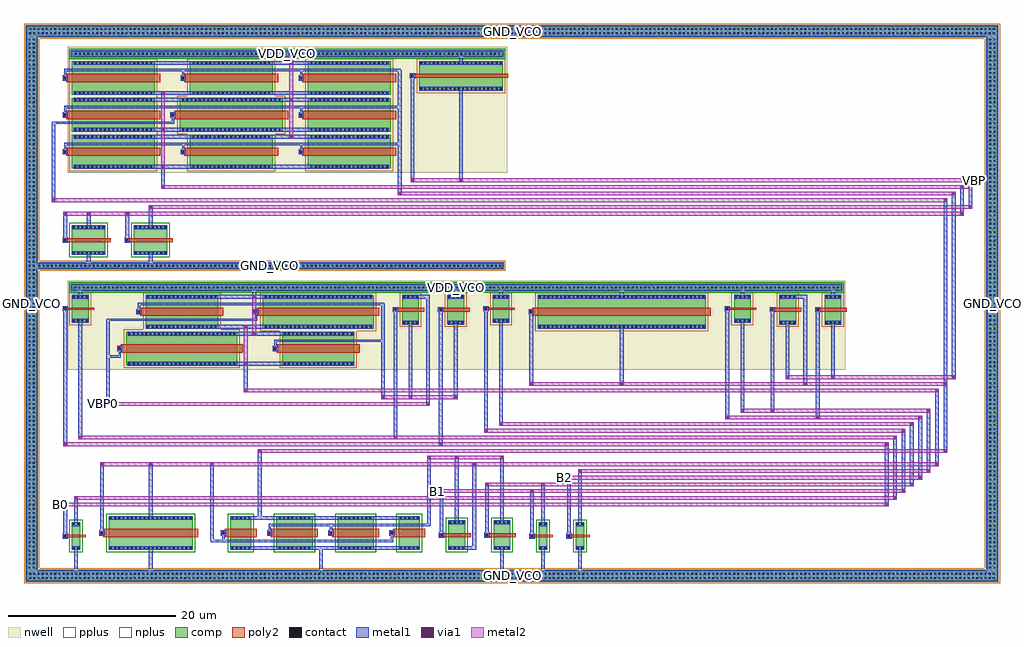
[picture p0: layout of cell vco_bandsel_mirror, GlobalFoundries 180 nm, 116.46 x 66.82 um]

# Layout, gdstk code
import gdstk
lib = gdstk.Library(unit=1e-6, precision=1e-09)
def R(c, l, rs):  # rectangles x0, y0, x1, y1
    for r in rs: c.add(gdstk.rectangle(r[:2], r[2:], *l))
def A(c, l, x, y, w, h, nx, ny, dx, dy):  # array of equal rectangles
    R(c, l, [(x+i*dx, y+j*dy, x+i*dx+w, y+j*dy+h) for i in range(nx) for j in range(ny)])
nwell = (21, 0)
comp = (22, 0)
poly2 = (30, 0)
pplus = (31, 0)
nplus = (32, 0)
contact = (33, 0)
metal1 = (34, 0)
via1 = (35, 0)
metal2 = (36, 0)

vco_bandsel_mirror = lib.new_cell('vco_bandsel_mirror')
R(vco_bandsel_mirror, nwell, [(-0.5,21.5,92.3,32.1), (-0.5,45,51.92,60)])
A(vco_bandsel_mirror, comp, 0, 45.5, 9.86, 4, 3, 2, 14.08, 8.8)
R(vco_bandsel_mirror, comp, [(-5.42,-3.72,110.44,-2.52), (-5.42,-2.52,-4.22,61.3), (109.24,-2.52,110.44,61.3), (0,0,1,3.28), (4.4,0,14.4,4), (18.9,0,21.4,4), (24.4,0,28.705,4), (31.705,0,36.01,4), (39.01,0,41.51,4), (44.91,0,46.91,3.5), (50.31,0,52.31,3.5), (55.71,0,56.71,3.28), (60.11,0,61.11,3.28), (6.5,22,19.75,26), (25.07,22,33.68,26), (8.82,26.4,17.43,30.4), (22.75,26.4,36,30.4), (55.6,26.4,75.6,30.4), (39.4,26.9,41.4,30.4), (44.8,26.9,46.8,30.4), (84.4,26.9,86.4,30.4), (89.8,26.9,91.8,30.4), (0,27.12,2,30.4), (50.2,27.12,52.2,30.4), (79,27.12,81,30.4), (0,31,91.8,31.6), (-4.22,33.6,51.42,34.2), (0,35.2,4,38.7), (7.4,35.2,11.4,38.7), (0,49.9,9.86,53.9), (12.86,49.9,25.16,53.9), (28.16,49.9,38.02,53.9), (41.42,54.8,51.42,58.3), (0,58.9,51.42,59.5), (-5.42,61.3,110.44,62.5)])
A(vco_bandsel_mirror, poly2, 23.4, 1.8, 0.4, 0.4, 3, 1, 7.305, 0)
A(vco_bandsel_mirror, poly2, -0.65, 47, 11.16, 1, 3, 2, 14.08, 8.8)
A(vco_bandsel_mirror, poly2, -1, 47.3, 0.4, 0.4, 3, 2, 14.08, 8.8)
R(vco_bandsel_mirror, poly2, [(-1,1.44,-0.6,1.84), (54.71,1.44,55.11,1.84), (59.11,1.44,59.51,1.84), (-0.65,1.5,1.65,1.78), (3.75,1.5,15.05,2.5), (18.25,1.5,22.05,2.5), (23.75,1.5,29.355,2.5), (31.055,1.5,36.66,2.5), (38.36,1.5,42.16,2.5), (44.26,1.5,47.56,2), (49.66,1.5,52.96,2), (55.06,1.5,57.36,1.78), (59.46,1.5,61.76,1.78), (43.91,1.55,44.31,1.95), (49.31,1.55,49.71,1.95), (3.4,1.8,3.8,2.2), (17.9,1.8,18.3,2.2), (5.85,23.5,20.4,24.5), (24.42,23.5,34.33,24.5), (5.5,23.8,5.9,24.2), (24.07,23.8,24.47,24.2), (8.17,27.9,18.08,28.9), (22.1,27.9,36.65,28.9), (54.95,27.9,76.25,28.9), (7.82,28.2,8.22,28.6), (21.75,28.2,22.15,28.6), (54.6,28.2,55,28.6), (38.75,28.4,42.05,28.9), (44.15,28.4,47.45,28.9), (83.75,28.4,87.05,28.9), (89.15,28.4,92.45,28.9), (38.4,28.45,38.8,28.85), (43.8,28.45,44.2,28.85), (83.4,28.45,83.8,28.85), (88.8,28.45,89.2,28.85), (-1,28.56,-0.6,28.96), (49.2,28.56,49.6,28.96), (78,28.56,78.4,28.96), (-0.65,28.62,2.65,28.9), (49.55,28.62,52.85,28.9), (78.35,28.62,81.65,28.9), (-0.65,36.7,4.65,37.2), (6.75,36.7,12.05,37.2), (-1,36.75,-0.6,37.15), (6.4,36.75,6.8,37.15), (-0.65,51.4,10.51,52.4), (12.21,51.4,25.81,52.4), (27.51,51.4,38.67,52.4), (-1,51.7,-0.6,52.1), (11.86,51.7,12.26,52.1), (27.16,51.7,27.56,52.1), (40.77,56.3,52.07,56.8), (40.42,56.35,40.82,56.75)])
A(vco_bandsel_mirror, pplus, -0.3, 45.2, 10.46, 4.6, 3, 2, 14.08, 8.8)
R(vco_bandsel_mirror, pplus, [(-5.72,-4.02,110.74,-2.22), (-5.72,-2.82,-3.92,61.6), (108.94,-2.82,110.74,61.6), (6.2,21.7,20.05,26.3), (24.77,21.7,33.98,26.3), (8.52,26.1,17.73,30.7), (22.45,26.1,36.3,30.7), (55.3,26.1,75.9,30.7), (39.1,26.6,41.7,30.7), (44.5,26.6,47.1,30.7), (84.1,26.6,86.7,30.7), (89.5,26.6,92.1,30.7), (-0.3,26.82,2.3,30.7), (49.9,26.82,52.5,30.7), (78.7,26.82,81.3,30.7), (-4.52,33.3,51.72,34.5), (-0.3,49.6,10.16,54.2), (12.56,49.6,25.46,54.2), (27.86,49.6,38.32,54.2), (41.12,54.5,51.72,58.6), (-5.72,61,110.74,62.8)])
R(vco_bandsel_mirror, nplus, [(-0.3,-0.3,1.3,3.58), (4.1,-0.3,14.7,4.3), (18.6,-0.3,21.7,4.3), (24.1,-0.3,29.005,4.3), (31.405,-0.3,36.31,4.3), (38.71,-0.3,41.81,4.3), (44.61,-0.3,47.21,3.8), (50.01,-0.3,52.61,3.8), (55.41,-0.3,57.01,3.58), (59.81,-0.3,61.41,3.58), (-0.3,30.7,92.1,31.9), (-0.3,34.9,4.3,39), (7.1,34.9,11.7,39), (-0.3,58.6,51.72,59.8)])
A(vco_bandsel_mirror, contact, -5.1, -3.48, 0.22, 0.22, 231, 2, 0.5, 0.5)
A(vco_bandsel_mirror, contact, -5.18, -2.22, 0.22, 0.22, 1, 127, 0, 0.5)
A(vco_bandsel_mirror, contact, -4.68, -2.22, 0.22, 0.22, 1, 127, 0, 0.5)
A(vco_bandsel_mirror, contact, 109.48, -2.22, 0.22, 0.22, 1, 127, 0, 0.5)
A(vco_bandsel_mirror, contact, 109.98, -2.22, 0.22, 0.22, 1, 127, 0, 0.5)
A(vco_bandsel_mirror, contact, 4.54, 0.1, 0.22, 0.22, 20, 2, 0.5, 3.58)
A(vco_bandsel_mirror, contact, 19.04, 0.1, 0.22, 0.22, 5, 2, 0.5, 3.58)
A(vco_bandsel_mirror, contact, 24.69, 0.1, 0.22, 0.22, 8, 2, 0.5, 3.58)
A(vco_bandsel_mirror, contact, 32, 0.1, 0.22, 0.22, 8, 2, 0.5, 3.58)
A(vco_bandsel_mirror, contact, 39.15, 0.1, 0.22, 0.22, 5, 2, 0.5, 3.58)
A(vco_bandsel_mirror, contact, 45.05, 0.1, 0.22, 0.22, 4, 2, 0.5, 3.08)
A(vco_bandsel_mirror, contact, 50.45, 0.1, 0.22, 0.22, 4, 2, 0.5, 3.08)
A(vco_bandsel_mirror, contact, 23.49, 1.89, 0.22, 0.22, 3, 1, 7.305, 0)
A(vco_bandsel_mirror, contact, 6.765, 22.1, 0.22, 0.22, 26, 2, 0.5, 3.58)
A(vco_bandsel_mirror, contact, 25.265, 22.1, 0.22, 0.22, 17, 2, 0.5, 3.58)
A(vco_bandsel_mirror, contact, 9.015, 26.5, 0.22, 0.22, 17, 2, 0.5, 3.58)
A(vco_bandsel_mirror, contact, 23.015, 26.5, 0.22, 0.22, 26, 2, 0.5, 3.58)
A(vco_bandsel_mirror, contact, 55.74, 26.5, 0.22, 0.22, 40, 2, 0.5, 3.58)
A(vco_bandsel_mirror, contact, 39.54, 27, 0.22, 0.22, 4, 2, 0.5, 3.08)
A(vco_bandsel_mirror, contact, 44.94, 27, 0.22, 0.22, 4, 2, 0.5, 3.08)
A(vco_bandsel_mirror, contact, 84.54, 27, 0.22, 0.22, 4, 2, 0.5, 3.08)
A(vco_bandsel_mirror, contact, 89.94, 27, 0.22, 0.22, 4, 2, 0.5, 3.08)
A(vco_bandsel_mirror, contact, 0.14, 27.22, 0.22, 0.22, 4, 2, 0.5, 2.86)
A(vco_bandsel_mirror, contact, 50.34, 27.22, 0.22, 0.22, 4, 2, 0.5, 2.86)
A(vco_bandsel_mirror, contact, 79.14, 27.22, 0.22, 0.22, 4, 2, 0.5, 2.86)
A(vco_bandsel_mirror, contact, 0.29, 31.19, 0.22, 0.22, 183, 1, 0.5, 0)
A(vco_bandsel_mirror, contact, -4.01, 33.79, 0.22, 0.22, 111, 1, 0.5, 0)
A(vco_bandsel_mirror, contact, 0.14, 35.3, 0.22, 0.22, 8, 2, 0.5, 3.08)
A(vco_bandsel_mirror, contact, 7.54, 35.3, 0.22, 0.22, 8, 2, 0.5, 3.08)
A(vco_bandsel_mirror, contact, 0.32, 45.6, 0.22, 0.22, 19, 2, 0.5, 3.58)
A(vco_bandsel_mirror, contact, 14.4, 45.6, 0.22, 0.22, 19, 2, 0.5, 3.58)
A(vco_bandsel_mirror, contact, 28.48, 45.6, 0.22, 0.22, 19, 2, 0.5, 3.58)
A(vco_bandsel_mirror, contact, -0.91, 47.39, 0.22, 0.22, 3, 2, 14.08, 8.8)
A(vco_bandsel_mirror, contact, 0.32, 50, 0.22, 0.22, 19, 2, 0.5, 3.58)
A(vco_bandsel_mirror, contact, 13.15, 50, 0.22, 0.22, 24, 2, 0.5, 3.58)
A(vco_bandsel_mirror, contact, 28.48, 50, 0.22, 0.22, 19, 2, 0.5, 3.58)
A(vco_bandsel_mirror, contact, 0.32, 54.4, 0.22, 0.22, 19, 2, 0.5, 3.58)
A(vco_bandsel_mirror, contact, 14.4, 54.4, 0.22, 0.22, 19, 2, 0.5, 3.58)
A(vco_bandsel_mirror, contact, 28.48, 54.4, 0.22, 0.22, 19, 2, 0.5, 3.58)
A(vco_bandsel_mirror, contact, 41.56, 54.9, 0.22, 0.22, 20, 2, 0.5, 3.08)
A(vco_bandsel_mirror, contact, 0.35, 59.09, 0.22, 0.22, 102, 1, 0.5, 0)
A(vco_bandsel_mirror, contact, -5.1, 61.54, 0.22, 0.22, 231, 2, 0.5, 0.5)
R(vco_bandsel_mirror, contact, [(0.14,0.1,0.36,0.32), (0.64,0.1,0.86,0.32), (55.85,0.1,56.07,0.32), (56.35,0.1,56.57,0.32), (60.25,0.1,60.47,0.32), (60.75,0.1,60.97,0.32), (-0.91,1.53,-0.69,1.75), (54.8,1.53,55.02,1.75), (59.2,1.53,59.42,1.75), (44,1.64,44.22,1.86), (49.4,1.64,49.62,1.86), (3.49,1.89,3.71,2.11), (17.99,1.89,18.21,2.11), (0.14,2.96,0.36,3.18), (0.64,2.96,0.86,3.18), (55.85,2.96,56.07,3.18), (56.35,2.96,56.57,3.18), (60.25,2.96,60.47,3.18), (60.75,2.96,60.97,3.18), (5.59,23.89,5.81,24.11), (24.16,23.89,24.38,24.11), (7.91,28.29,8.13,28.51), (21.84,28.29,22.06,28.51), (54.69,28.29,54.91,28.51), (38.49,28.54,38.71,28.76), (43.89,28.54,44.11,28.76), (83.49,28.54,83.71,28.76), (88.89,28.54,89.11,28.76), (-0.91,28.65,-0.69,28.87), (49.29,28.65,49.51,28.87), (78.09,28.65,78.31,28.87), (-0.91,36.84,-0.69,37.06), (6.49,36.84,6.71,37.06), (-0.91,51.79,-0.69,52.01), (11.95,51.79,12.17,52.01), (27.25,51.79,27.47,52.01), (40.51,56.44,40.73,56.66)])
A(vco_bandsel_mirror, metal1, 23.28, 1.68, 0.64, 0.64, 3, 1, 7.305, 0)
A(vco_bandsel_mirror, metal1, 39.42, 29.96, 1.96, 0.46, 3, 1, 5.4, 0)
A(vco_bandsel_mirror, metal1, 79.02, 29.96, 1.96, 0.46, 3, 1, 5.4, 0)
A(vco_bandsel_mirror, metal1, 50.98, 30.42, 0.44, 0.58, 3, 1, 14.4, 0)
A(vco_bandsel_mirror, metal1, 0.2, 45.48, 9.46, 0.46, 3, 2, 14.08, 3.58)
A(vco_bandsel_mirror, metal1, 10.64, 45.49, 0.44, 0.44, 1, 3, 0, 4.4)
A(vco_bandsel_mirror, metal1, -1.12, 47.18, 0.64, 0.64, 3, 2, 14.08, 8.8)
A(vco_bandsel_mirror, metal1, -0.94, 47.82, 0.28, 0.62, 3, 2, 14.08, 8.8)
A(vco_bandsel_mirror, metal1, -0.94, 48.3, 40.2, 0.28, 1, 3, 0, 4.4)
A(vco_bandsel_mirror, metal1, 25.94, 49.07, 0.44, 0.44, 1, 3, 0, 4.4)
A(vco_bandsel_mirror, metal1, 0.2, 54.28, 9.46, 0.46, 3, 2, 14.08, 3.58)
R(vco_bandsel_mirror, metal1, [(-5.54,-3.84,110.56,-2.4), (-5.54,-2.64,-4.1,61.42), (109.12,-2.64,110.56,61.42), (0.28,-2.4,0.72,-0.02), (9.18,-2.4,9.62,-0.02), (29.485,-2.4,29.925,-0.02), (51.09,-2.4,51.53,-0.02), (55.99,-2.4,56.43,-0.02), (60.39,-2.4,60.83,-0.02), (0.02,-0.02,0.98,0.44), (4.42,-0.02,14.38,0.44), (18.92,-0.02,41.49,0.44), (18.92,-0.02,21.38,0.44), (24.57,-0.02,28.53,0.44), (31.88,-0.02,35.84,0.44), (39.03,-0.02,41.49,0.44), (44.93,-0.02,46.89,0.44), (44.93,-0.02,48.23,0.44), (50.33,-0.02,52.29,0.44), (55.73,-0.02,56.69,0.44), (60.13,-0.02,61.09,0.44), (47.79,0.21,48.23,10.2), (16.56,0.92,38.35,1.2), (16.48,1.06,16.92,10.2), (17.96,1.06,18.24,1.68), (38.07,1.06,38.35,1.68), (-1.12,1.32,-0.48,1.96), (54.59,1.32,55.23,1.96), (58.99,1.32,59.63,1.96), (43.79,1.43,44.43,2.07), (49.19,1.43,49.83,2.07), (3.28,1.68,3.92,2.32), (17.78,1.68,18.42,2.32), (-1.02,1.96,-0.58,5.4), (54.69,1.96,55.13,7), (59.09,1.96,59.53,8.6), (43.89,2.07,44.33,7), (49.29,2.07,49.73,7.8), (3.38,2.32,3.82,10.2), (23.46,2.32,23.74,2.94), (30.765,2.32,31.045,2.94), (23.46,2.8,42.75,3.08), (0.02,2.84,0.98,3.3), (55.73,2.84,56.69,3.3), (60.13,2.84,61.09,3.3), (42.39,2.94,42.83,11), (44.93,3.06,46.89,3.52), (50.33,3.06,52.29,3.52), (0.28,3.3,0.72,6.2), (55.99,3.3,56.43,7.8), (60.39,3.3,60.83,9.4), (45.69,3.52,46.13,11), (51.09,3.52,51.53,11), (4.42,3.56,14.38,4.02), (18.92,3.56,41.49,4.02), (18.92,3.56,21.38,4.02), (24.57,3.56,28.53,4.02), (31.88,3.56,35.84,4.02), (39.03,3.56,41.49,4.02), (9.18,4.02,9.62,10.2), (22.18,4.02,22.62,11.8), (-1.02,5.18,-0.58,5.62), (97,5.18,97.44,5.62), (97,5.4,97.44,12.6), (0.28,5.98,0.72,6.42), (98,5.98,98.44,6.42), (98,6.2,98.44,13.4), (43.89,6.78,44.33,7.22), (54.69,6.78,55.13,7.22), (99,6.78,99.44,7.22), (99,7,99.44,14.2), (49.29,7.58,49.73,8.02), (55.99,7.58,56.43,8.02), (100,7.58,100.44,8.02), (100,7.8,100.44,15), (59.09,8.38,59.53,8.82), (101,8.38,101.44,8.82), (101,8.6,101.44,15.8), (60.39,9.18,60.83,9.62), (102,9.18,102.44,9.62), (102,9.4,102.44,16.6), (3.38,9.98,3.82,10.42), (9.18,9.98,9.62,10.42), (16.48,9.98,16.92,10.42), (47.79,9.98,48.23,10.42), (103,9.98,103.44,10.42), (103,10.2,103.44,19), (42.39,10.78,42.83,11.22), (45.69,10.78,46.13,11.22), (51.09,10.78,51.53,11.22), (22.18,11.58,22.62,12.02), (104,11.58,104.44,12.02), (104,11.8,104.44,41.7), (-1.02,12.38,-0.58,12.82), (43.78,12.38,44.22,12.82), (97,12.38,97.44,12.82), (-1.02,12.6,-0.58,28.44), (43.78,12.6,44.22,28.33), (0.78,13.18,1.22,13.62), (38.38,13.18,38.82,13.62), (98,13.18,98.44,13.62), (0.78,13.4,1.22,27.1), (38.38,13.4,38.82,28.33), (49.18,13.98,49.62,14.42), (99,13.98,99.44,14.42), (49.18,14.2,49.62,28.44), (50.98,14.78,51.42,15.22), (100,14.78,100.44,15.22), (50.98,15,51.42,27.1), (77.98,15.58,78.42,16.02), (88.78,15.58,89.22,16.02), (101,15.58,101.44,16.02), (77.98,15.8,78.42,28.44), (88.78,15.8,89.22,28.33), (79.78,16.38,80.22,16.82), (83.38,16.38,83.82,16.82), (102,16.38,102.44,16.82), (79.78,16.6,80.22,27.1), (83.38,16.6,83.82,28.33), (4.08,17.18,4.52,17.62), (42.28,17.18,42.72,17.62), (4.08,17.4,4.52,23.06), (42.28,17.4,42.72,30.19), (36.88,17.98,37.32,18.42), (40.18,17.98,40.62,18.42), (45.58,17.98,46.02,18.42), (36.88,18.2,37.32,24.94), (40.18,18.2,40.62,26.88), (45.58,18.2,46.02,26.88), (20.53,18.78,20.97,19.22), (103,18.78,103.44,19.22), (20.53,19,20.97,21.98), (54.58,19.58,55.02,20.02), (65.38,19.58,65.82,20.02), (87.28,19.58,87.72,20.02), (104,19.58,104.44,20.02), (54.58,19.8,55.02,28.08), (65.38,19.8,65.82,26.38), (87.28,19.8,87.72,30.19), (85.18,20.38,85.62,20.82), (90.58,20.38,91.02,20.82), (105,20.38,105.44,20.82), (85.18,20.6,85.62,26.88), (90.58,20.6,91.02,26.88), (105,20.6,105.44,42.5), (6.645,21.98,19.605,22.44), (6.645,21.98,33.605,22.44), (25.145,21.98,33.605,22.44), (20.53,21.99,20.97,22.43), (4.16,22.92,5.84,23.2), (4.08,23.06,4.52,27.46), (5.56,23.06,5.84,23.68), (5.38,23.68,6.02,24.32), (23.95,23.68,24.59,24.32), (24.13,24.32,24.41,24.94), (24.13,24.8,37.24,25.08), (36.88,24.94,37.32,29.34), (6.645,25.56,19.605,26.02), (6.645,25.56,33.605,26.02), (25.145,25.56,33.605,26.02), (21.53,25.57,21.97,26.01), (8.895,26.38,17.355,26.84), (8.895,26.38,35.855,26.84), (22.895,26.38,35.855,26.84), (55.62,26.38,75.58,26.84), (20.53,26.39,20.97,26.83), (39.42,26.88,41.38,27.34), (44.82,26.88,46.78,27.34), (84.42,26.88,86.38,27.34), (89.82,26.88,91.78,27.34), (0.02,27.1,1.98,27.56), (50.22,27.1,52.18,27.56), (79.02,27.1,80.98,27.56), (4.16,27.32,22.09,27.6), (21.81,27.46,22.09,28.08), (7.7,28.08,8.34,28.72), (21.63,28.08,22.27,28.72), (54.48,28.08,55.12,28.72), (38.28,28.33,38.92,28.97), (43.68,28.33,44.32,28.97), (83.28,28.33,83.92,28.97), (88.68,28.33,89.32,28.97), (-1.12,28.44,-0.48,29.08), (49.08,28.44,49.72,29.08), (77.88,28.44,78.52,29.08), (7.88,28.72,8.16,29.34), (7.88,29.2,37.24,29.48), (0.02,29.96,1.98,30.42), (8.895,29.96,17.355,30.42), (8.895,29.96,35.855,30.42), (22.895,29.96,35.855,30.42), (39.42,29.96,42.72,30.42), (55.62,29.96,75.58,30.42), (84.42,29.96,87.72,30.42), (21.53,29.97,21.97,30.41), (0.78,30.42,1.22,31), (21.53,30.42,21.97,31), (45.58,30.42,46.02,31), (90.58,30.42,91.02,31), (-0.12,30.88,91.92,31.72), (-4.34,33.48,51.54,34.32), (1.78,34.32,2.22,35.18), (9.18,34.32,9.62,35.18), (0.02,35.18,3.98,35.64), (7.42,35.18,11.38,35.64), (-1.12,36.63,-0.48,37.27), (6.28,36.63,6.92,37.27), (-1.02,37.27,-0.58,40.1), (6.38,37.27,6.82,40.1), (0.02,38.26,3.98,38.72), (7.42,38.26,11.38,38.72), (1.78,38.72,2.22,40.1), (9.18,38.72,9.62,40.9), (-1.02,39.88,-0.58,40.32), (1.78,39.88,2.22,40.32), (6.38,39.88,6.82,40.32), (106,39.88,106.44,40.32), (106,40.1,106.44,43.3), (9.18,40.68,9.62,41.12), (107,40.68,107.44,41.12), (107,40.9,107.44,44.1), (-2.42,41.48,-1.98,41.92), (104,41.48,104.44,41.92), (-2.42,41.7,-1.98,50.96), (38.9,42.28,39.34,42.72), (105,42.28,105.44,42.72), (38.9,42.5,39.34,48.44), (10.64,43.08,11.08,43.52), (106,43.08,106.44,43.52), (10.64,43.3,11.08,45.48), (40.4,43.88,40.84,44.32), (46.2,43.88,46.64,44.32), (107,43.88,107.44,44.32), (40.4,44.1,40.84,56.23), (46.2,44.1,46.64,54.78), (0.2,45.48,37.82,45.94), (38.9,48.44,39.34,57.24), (0.2,49.06,37.82,49.52), (0.2,49.88,9.66,50.34), (0.2,49.88,37.82,50.34), (13.03,49.88,24.99,50.34), (28.36,49.88,37.82,50.34), (-2.34,50.82,12.2,51.1), (11.92,50.96,12.2,51.58), (-1.12,51.58,-0.48,52.22), (11.74,51.58,12.38,52.22), (27.04,51.58,27.68,52.22), (-0.94,52.22,-0.66,52.84), (27.22,52.22,27.5,52.84), (0.2,53.46,9.66,53.92), (0.2,53.46,37.82,53.92), (13.03,53.46,24.99,53.92), (28.36,53.46,37.82,53.92), (0.2,54.28,37.82,54.74), (41.44,54.78,51.4,55.24), (40.3,56.23,40.94,56.87), (0.2,57.86,37.82,58.32), (41.44,57.86,51.4,58.32), (25.94,58.32,26.38,58.9), (46.2,58.32,46.64,58.9), (-0.12,58.78,51.54,59.62), (-5.54,61.18,110.56,62.62)])
A(vco_bandsel_mirror, via1, 10.73, 45.58, 0.26, 0.26, 1, 3, 0, 4.4)
A(vco_bandsel_mirror, via1, 26.03, 49.16, 0.26, 0.26, 1, 3, 0, 4.4)
R(vco_bandsel_mirror, via1, [(-0.93,5.27,-0.67,5.53), (97.09,5.27,97.35,5.53), (0.37,6.07,0.63,6.33), (98.09,6.07,98.35,6.33), (43.98,6.87,44.24,7.13), (54.78,6.87,55.04,7.13), (99.09,6.87,99.35,7.13), (49.38,7.67,49.64,7.93), (56.08,7.67,56.34,7.93), (100.09,7.67,100.35,7.93), (59.18,8.47,59.44,8.73), (101.09,8.47,101.35,8.73), (60.48,9.27,60.74,9.53), (102.09,9.27,102.35,9.53), (3.47,10.07,3.73,10.33), (9.27,10.07,9.53,10.33), (16.57,10.07,16.83,10.33), (47.88,10.07,48.14,10.33), (103.09,10.07,103.35,10.33), (42.48,10.87,42.74,11.13), (45.78,10.87,46.04,11.13), (51.18,10.87,51.44,11.13), (22.27,11.67,22.53,11.93), (104.09,11.67,104.35,11.93), (-0.93,12.47,-0.67,12.73), (43.87,12.47,44.13,12.73), (97.09,12.47,97.35,12.73), (0.87,13.27,1.13,13.53), (38.47,13.27,38.73,13.53), (98.09,13.27,98.35,13.53), (49.27,14.07,49.53,14.33), (99.09,14.07,99.35,14.33), (51.07,14.87,51.33,15.13), (100.09,14.87,100.35,15.13), (78.07,15.67,78.33,15.93), (88.87,15.67,89.13,15.93), (101.09,15.67,101.35,15.93), (79.87,16.47,80.13,16.73), (83.47,16.47,83.73,16.73), (102.09,16.47,102.35,16.73), (4.17,17.27,4.43,17.53), (42.37,17.27,42.63,17.53), (36.97,18.07,37.23,18.33), (40.27,18.07,40.53,18.33), (45.67,18.07,45.93,18.33), (20.62,18.87,20.88,19.13), (103.09,18.87,103.35,19.13), (54.67,19.67,54.93,19.93), (65.47,19.67,65.73,19.93), (87.37,19.67,87.63,19.93), (104.09,19.67,104.35,19.93), (85.27,20.47,85.53,20.73), (90.67,20.47,90.93,20.73), (105.09,20.47,105.35,20.73), (20.62,22.08,20.88,22.34), (21.62,25.66,21.88,25.92), (20.62,26.48,20.88,26.74), (21.62,30.06,21.88,30.32), (-0.93,39.97,-0.67,40.23), (1.87,39.97,2.13,40.23), (6.47,39.97,6.73,40.23), (106.09,39.97,106.35,40.23), (9.27,40.77,9.53,41.03), (107.09,40.77,107.35,41.03), (-2.33,41.57,-2.07,41.83), (104.09,41.57,104.35,41.83), (38.99,42.37,39.25,42.63), (105.09,42.37,105.35,42.63), (10.73,43.17,10.99,43.43), (106.09,43.17,106.35,43.43), (40.49,43.97,40.75,44.23), (46.29,43.97,46.55,44.23), (107.09,43.97,107.35,44.23)])
A(vco_bandsel_mirror, metal2, 10.64, 45.49, 0.44, 0.44, 1, 3, 0, 4.4)
A(vco_bandsel_mirror, metal2, 25.94, 49.07, 0.44, 0.44, 1, 3, 0, 4.4)
R(vco_bandsel_mirror, metal2, [(-1.62,5.18,-0.8,5.62), (-1.02,5.18,97.44,5.62), (-1.02,5.18,-0.58,5.62), (97,5.18,97.44,5.62), (0.28,5.98,98.44,6.42), (0.28,5.98,0.72,6.42), (98,5.98,98.44,6.42), (43.29,6.78,44.11,7.22), (43.89,6.78,99.44,7.22), (43.89,6.78,44.33,7.22), (54.69,6.78,55.13,7.22), (99,6.78,99.44,7.22), (49.29,7.58,100.44,8.02), (49.29,7.58,49.73,8.02), (55.99,7.58,56.43,8.02), (100,7.58,100.44,8.02), (58.49,8.38,59.31,8.82), (59.09,8.38,59.53,8.82), (59.09,8.38,101.44,8.82), (101,8.38,101.44,8.82), (60.39,9.18,60.83,9.62), (60.39,9.18,102.44,9.62), (102,9.18,102.44,9.62), (3.38,9.98,103.44,10.42), (3.38,9.98,3.82,10.42), (9.18,9.98,9.62,10.42), (16.48,9.98,16.92,10.42), (47.79,9.98,48.23,10.42), (103,9.98,103.44,10.42), (42.39,10.78,42.83,11.22), (42.39,10.78,51.53,11.22), (45.69,10.78,46.13,11.22), (51.09,10.78,51.53,11.22), (22.18,11.58,104.44,12.02), (22.18,11.58,22.62,12.02), (104,11.58,104.44,12.02), (-1.02,12.38,97.44,12.82), (-1.02,12.38,-0.58,12.82), (43.78,12.38,44.22,12.82), (97,12.38,97.44,12.82), (0.78,13.18,98.44,13.62), (0.78,13.18,1.22,13.62), (38.38,13.18,38.82,13.62), (98,13.18,98.44,13.62), (49.18,13.98,99.44,14.42), (49.18,13.98,49.62,14.42), (99,13.98,99.44,14.42), (50.98,14.78,100.44,15.22), (50.98,14.78,51.42,15.22), (100,14.78,100.44,15.22), (77.98,15.58,78.42,16.02), (77.98,15.58,101.44,16.02), (88.78,15.58,89.22,16.02), (101,15.58,101.44,16.02), (79.78,16.38,80.22,16.82), (79.78,16.38,102.44,16.82), (83.38,16.38,83.82,16.82), (102,16.38,102.44,16.82), (3.48,17.18,4.3,17.62), (4.08,17.18,4.52,17.62), (4.08,17.18,42.72,17.62), (42.28,17.18,42.72,17.62), (36.88,17.98,37.32,18.42), (36.88,17.98,46.02,18.42), (40.18,17.98,40.62,18.42), (45.58,17.98,46.02,18.42), (20.53,18.78,103.44,19.22), (20.53,18.78,20.97,19.22), (103,18.78,103.44,19.22), (54.58,19.58,55.02,20.02), (54.58,19.58,104.44,20.02), (65.38,19.58,65.82,20.02), (87.28,19.58,87.72,20.02), (104,19.58,104.44,20.02), (85.18,20.38,85.62,20.82), (85.18,20.38,105.44,20.82), (90.58,20.38,91.02,20.82), (105,20.38,105.44,20.82), (20.53,21.99,20.97,22.43), (20.53,21.99,20.97,26.83), (21.53,25.57,21.97,26.01), (21.53,25.57,21.97,30.41), (20.53,26.39,20.97,26.83), (21.53,29.97,21.97,30.41), (-1.02,39.88,106.44,40.32), (-1.02,39.88,-0.58,40.32), (1.78,39.88,2.22,40.32), (6.38,39.88,6.82,40.32), (106,39.88,106.44,40.32), (9.18,40.68,107.44,41.12), (9.18,40.68,9.62,41.12), (107,40.68,107.44,41.12), (-2.42,41.48,104.44,41.92), (-2.42,41.48,-1.98,41.92), (104,41.48,104.44,41.92), (38.9,42.28,105.44,42.72), (38.9,42.28,39.34,42.72), (105,42.28,105.44,42.72), (10.64,43.08,106.44,43.52), (10.64,43.08,11.08,43.52), (106,43.08,106.44,43.52), (106.22,43.08,107.04,43.52), (40.4,43.88,107.44,44.32), (40.4,43.88,40.84,44.32), (46.2,43.88,46.64,44.32), (107,43.88,107.44,44.32), (107.22,43.88,108.04,44.32), (10.64,45.49,11.08,54.73), (25.94,49.07,26.38,58.31)])
vco_bandsel_mirror.add(gdstk.Label('VDD_VCO', (45.9,31.3), layer=34, texttype=0))
vco_bandsel_mirror.add(gdstk.Label('VDD_VCO', (25.71,59.2), layer=34, texttype=0))
vco_bandsel_mirror.add(gdstk.Label('GND_VCO', (23.6,33.9), layer=34, texttype=0))
vco_bandsel_mirror.add(gdstk.Label('GND_VCO', (52.51,61.9), layer=34, texttype=0))
vco_bandsel_mirror.add(gdstk.Label('GND_VCO', (52.51,-3.12), layer=34, texttype=0))
vco_bandsel_mirror.add(gdstk.Label('GND_VCO', (-4.82,29.39), layer=34, texttype=0))
vco_bandsel_mirror.add(gdstk.Label('GND_VCO', (109.84,29.39), layer=34, texttype=0))
vco_bandsel_mirror.add(gdstk.Label('VBP0', (3.78,17.4), layer=36, texttype=0))
vco_bandsel_mirror.add(gdstk.Label('B0', (-1.32,5.4), layer=36, texttype=0))
vco_bandsel_mirror.add(gdstk.Label('B1', (43.59,7), layer=36, texttype=0))
vco_bandsel_mirror.add(gdstk.Label('B2', (58.79,8.6), layer=36, texttype=0))
vco_bandsel_mirror.add(gdstk.Label('VBP', (107.74,44.1), layer=36, texttype=0))
vco_bandsel_mirror.add(gdstk.Label('VBN', (106.74,43.3), layer=36, texttype=0))

lib.write_gds('vco_bandsel_mirror.gds')
